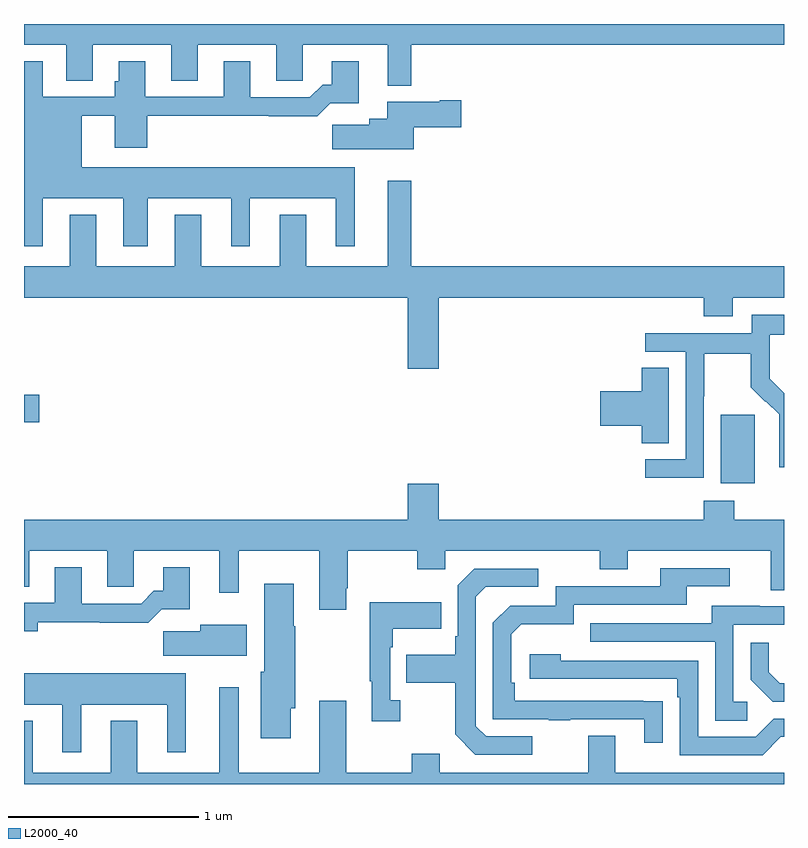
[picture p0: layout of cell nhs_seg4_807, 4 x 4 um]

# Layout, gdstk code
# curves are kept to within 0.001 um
import gdstk
lib = gdstk.Library(unit=1e-6, precision=1e-09)
def R(c, l, rs):  # rectangles x0, y0, x1, y1
    for r in rs: c.add(gdstk.rectangle(r[:2], r[2:], *l))
def P(c, l, *ps):  # polygons
    for p in ps: c.add(gdstk.Polygon(p, *l))
L2000_40 = (2000, 40)

nhs_seg4_807 = lib.new_cell('nhs_seg4_807')
R(nhs_seg4_807, L2000_40, [(154.667,822.482,154.846,822.843), (151,822.803,151.081,822.95)])
P(nhs_seg4_807, L2000_40, [(153.037,824.792),(155,824.792),(155,824.9),(151,824.9),(151,824.792),(151.223,824.792),(151.223,824.602),(151.363,824.602),(151.363,824.792),(151.775,824.792),(151.775,824.602),(151.915,824.602),(151.915,824.792),(152.327,824.792),(152.327,824.602),(152.466,824.602),(152.466,824.792),(152.915,824.792),(152.915,824.576),(153.037,824.576)],
  [(151.099,823.982),(151.523,823.982),(151.523,823.731),(151.651,823.731),(151.651,823.982),(152.09,823.982),(152.09,823.731),(152.188,823.731),(152.188,823.982),(152.642,823.982),(152.642,823.731),(152.74,823.731),(152.74,824.146),(151.303,824.146),(151.303,824.416),(151.478,824.416),(151.478,824.25),(151.649,824.25),(151.649,824.416),(152.287,824.416),(152.287,824.414),(152.543,824.414),(152.612,824.483),(152.761,824.483),(152.761,824.704),(152.621,824.704),(152.621,824.581),(152.572,824.581),(152.505,824.514),(152.191,824.514),(152.191,824.704),(152.051,824.704),(152.051,824.517),(151.639,824.517),(151.639,824.704),(151.499,824.704),(151.499,824.598),(151.478,824.598),(151.478,824.517),(151.099,824.517),(151.099,824.704),(151,824.704),(151,823.731),(151.099,823.731)],
  [(153.052,824.357),(153.301,824.357),(153.301,824.499),(153.188,824.499),(153.188,824.491),(152.912,824.491),(152.912,824.401),(152.816,824.401),(152.816,824.369),(152.622,824.369),(152.622,824.24),(153.052,824.24)],
  [(153.184,823.46),(154.577,823.46),(154.577,823.361),(154.729,823.361),(154.729,823.46),(155,823.46),(155,823.624),(153.037,823.624),(153.037,824.074),(152.915,824.074),(152.915,823.624),(152.485,823.624),(152.485,823.897),(152.345,823.897),(152.345,823.624),(151.933,823.624),(151.933,823.897),(151.793,823.897),(151.793,823.624),(151.381,823.624),(151.381,823.897),(151.241,823.897),(151.241,823.624),(151,823.624),(151,823.46),(153.02,823.46),(153.02,823.086),(153.184,823.086)],
  [(154.578,822.94),(154.581,822.94),(154.581,823.164),(154.825,823.164),(154.825,822.989),(154.902,822.912),(154.905,822.915),(154.976,822.845),(154.976,822.722),(154.974,822.722),(154.974,822.568),(155,822.568),(155,822.956),(154.997,822.959),(154.998,822.96),(154.924,823.034),(154.924,823.131),(154.926,823.131),(154.926,823.265),(155,823.265),(155,823.369),(154.83,823.369),(154.83,823.272),(154.269,823.272),(154.269,823.176),(154.482,823.176),(154.482,822.609),(154.269,822.609),(154.269,822.511),(154.578,822.511)],
  [(154.393,823.091),(154.25,823.091),(154.25,822.968),(154.032,822.968),(154.032,822.785),(154.25,822.785),(154.25,822.694),(154.393,822.694)],
  [(152.695,821.929),(152.703,821.929),(152.703,822.128),(153.07,822.128),(153.07,822.029),(153.216,822.029),(153.216,822.128),(154.03,822.128),(154.03,822.029),(154.177,822.029),(154.177,822.128),(154.931,822.128),(154.931,821.92),(155,821.92),(155,822.292),(154.737,822.292),(154.737,822.391),(154.577,822.391),(154.577,822.292),(153.184,822.292),(153.184,822.481),(153.02,822.481),(153.02,822.292),(151,822.292),(151,821.939),(151.027,821.939),(151.027,822.128),(151.439,822.128),(151.439,821.938),(151.578,821.938),(151.578,822.128),(152.027,822.128),(152.027,821.907),(152.131,821.907),(152.131,822.128),(152.555,822.128),(152.555,821.817),(152.695,821.817)],
  [(151.072,821.752),(151.399,821.752),(151.399,821.75),(151.655,821.75),(151.724,821.819),(151.873,821.819),(151.873,822.04),(151.733,822.04),(151.733,821.917),(151.684,821.917),(151.617,821.85),(151.303,821.85),(151.303,822.04),(151.163,822.04),(151.163,821.853),(151,821.853),(151,821.705),(151.072,821.705)],
  [(154.361,821.336),(153.584,821.337),(153.584,821.434),(153.564,821.434),(153.564,821.688),(153.617,821.741),(153.894,821.741),(153.894,821.844),(154.489,821.844),(154.489,821.94),(154.714,821.94),(154.714,822.036),(154.349,822.036),(154.349,821.94),(153.798,821.94),(153.798,821.838),(153.558,821.838),(153.468,821.748),(153.468,821.241),(153.763,821.241),(153.763,821.236),(153.875,821.236),(153.875,821.241),(154.265,821.241),(154.265,821.118),(154.361,821.118)],
  [(153.676,821.151),(153.432,821.151),(153.378,821.205),(153.378,821.886),(153.429,821.937),(153.706,821.937),(153.706,822.033),(153.369,822.033),(153.282,821.946),(153.282,821.677),(153.27,821.677),(153.27,821.581),(153.013,821.581),(153.013,821.434),(153.27,821.434),(153.27,821.161),(153.375,821.055),(153.676,821.055)],
  [(152.404,821.298),(152.427,821.298),(152.427,821.729),(152.419,821.729),(152.419,821.953),(152.264,821.953),(152.264,821.49),(152.246,821.49),(152.246,821.142),(152.404,821.142)],
  [(152.98,821.342),(152.928,821.342),(152.928,821.621),(152.941,821.621),(152.941,821.717),(153.197,821.717),(153.197,821.857),(152.82,821.857),(152.82,821.441),(152.831,821.441),(152.831,821.229),(152.98,821.229)],
  [(154.807,821.334),(154.734,821.334),(154.734,821.739),(155,821.739),(155,821.835),(154.873,821.835),(154.873,821.839),(154.619,821.839),(154.619,821.745),(153.979,821.745),(153.979,821.649),(154.638,821.649),(154.638,821.233),(154.807,821.233)],
  [(152.173,821.737),(151.928,821.737),(151.928,821.705),(151.734,821.705),(151.734,821.576),(152.173,821.576)],
  [(155,821.43),(154.978,821.43),(154.921,821.487),(154.921,821.644),(154.824,821.644),(154.824,821.45),(154.94,821.334),(155,821.334)],
  [(154.983,821.148),(155,821.148),(155,821.244),(154.947,821.244),(154.851,821.148),(154.548,821.148),(154.548,821.55),(153.824,821.55),(153.824,821.584),(153.663,821.584),(153.663,821.454),(154.439,821.454),(154.439,821.357),(154.452,821.357),(154.452,821.052),(154.887,821.052)],
  [(151.3,821.318),(151.754,821.318),(151.754,821.067),(151.852,821.067),(151.852,821.482),(151,821.482),(151,821.318),(151.202,821.318),(151.202,821.067),(151.3,821.067)],
  [(155,820.96),(154.111,820.96),(154.111,821.155),(153.971,821.155),(153.971,820.96),(153.187,820.96),(153.187,821.059),(153.04,821.059),(153.04,820.96),(152.695,820.96),(152.695,821.338),(152.555,821.338),(152.555,820.96),(152.131,820.96),(152.131,821.41),(152.027,821.41),(152.027,820.96),(151.597,820.96),(151.597,821.233),(151.457,821.233),(151.457,820.96),(151.045,820.96),(151.045,821.233),(151,821.233),(151,820.9),(155,820.9)])

lib.write_gds('nhs_seg4_807.gds')
